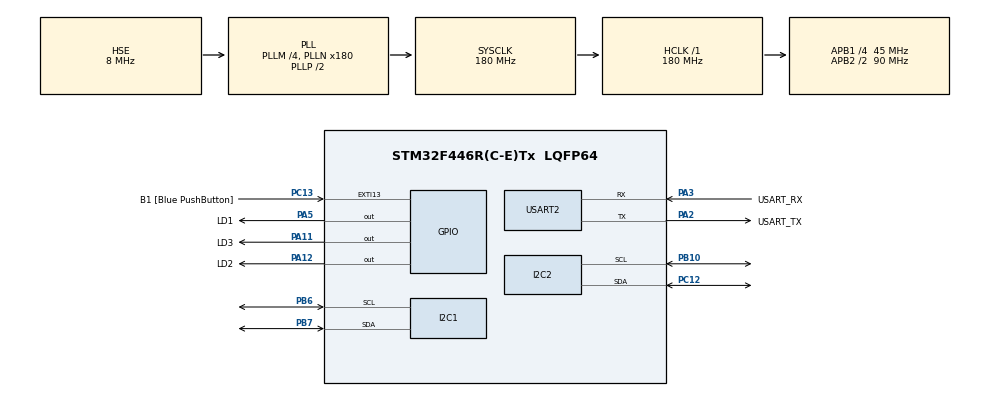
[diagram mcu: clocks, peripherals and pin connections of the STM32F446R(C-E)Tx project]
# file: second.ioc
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FREERTOS.INCLUDE_uxTaskGetStackHighWaterMark=1
FREERTOS.INCLUDE_uxTaskGetStackHighWaterMark2=1
FREERTOS.Tasks01=defaultTask,0,128,StartDefaultTask,Default,NULL,Dynamic,NULL,NULL
FREERTOS.configCHECK_FOR_STACK_OVERFLOW=2
FREERTOS.configENABLE_BACKWARD_COMPATIBILITY=0
FREERTOS.configENABLE_FPU=1
FREERTOS.configRECORD_STACK_HIGH_ADDRESS=1
FREERTOS.configTOTAL_HEAP_SIZE=32768
FREERTOS.configUSE_APPLICATION_TASK_TAG=1
FREERTOS.configUSE_MALLOC_FAILED_HOOK=1
FREERTOS.configUSE_NEWLIB_REENTRANT=1
FREERTOS.configUSE_POSIX_ERRNO=1
FREERTOS.configUSE_TIMERS=1
I2C1.OwnAddress=0
I2C2.OwnAddress=0x77
Mcu.Family=STM32F4
Mcu.Name=STM32F446R(C-E)Tx
Mcu.Package=LQFP64
NVIC.I2C1_ER_IRQn=true\:5\:0\:false\:false\:true\:true\:true\:true\:true
NVIC.I2C1_EV_IRQn=true\:5\:0\:false\:false\:true\:true\:true\:true\:true
NVIC.I2C2_ER_IRQn=true\:5\:0\:false\:false\:true\:true\:true\:true\:true
NVIC.I2C2_EV_IRQn=true\:5\:0\:false\:false\:true\:true\:true\:true\:true
NVIC.PriorityGroup=NVIC_PRIORITYGROUP_4
NVIC.TIM8_TRG_COM_TIM14_IRQn=true\:15\:0\:false\:false\:true\:false\:false\:true\:true
NVIC.TimeBase=TIM8_TRG_COM_TIM14_IRQn
NVIC.TimeBaseIP=TIM14
PA11.GPIO_Label=LD3
PA11.Signal=GPIO_Output
PA12.GPIO_Label=LD2
PA12.Signal=GPIO_Output
PA13.GPIO_Label=TMS
PA13.Mode=Trace_Asynchronous_SW
PA13.Signal=SYS_JTMS-SWDIO
PA14.GPIO_Label=TCK
PA14.Mode=Trace_Asynchronous_SW
PA14.Signal=SYS_JTCK-SWCLK
PA2.GPIO_Label=USART_TX
PA2.Mode=Asynchronous
PA2.Signal=USART2_TX
PA3.GPIO_Label=USART_RX
PA3.Mode=Asynchronous
PA3.Signal=USART2_RX
PA5.GPIO_Label=LD1
PA5.Signal=GPIO_Output
PB10.Mode=I2C
PB10.Signal=I2C2_SCL
PB3.GPIO_Label=SWO
PB3.Mode=Trace_Asynchronous_SW
PB3.Signal=SYS_JTDO-SWO
PB6.Mode=I2C
PB6.Signal=I2C1_SCL
PB7.Mode=I2C
PB7.Signal=I2C1_SDA
PC12.Mode=I2C
PC12.Signal=I2C2_SDA
PC13.GPIO_Label=B1 [Blue PushButton]
PC13.GPIO_ModeDefaultEXTI=GPIO_MODE_IT_FALLING
PC13.Signal=GPXTI13
PC14-OSC32_IN.Mode=LSE-External-Oscillator
PC14-OSC32_IN.Signal=RCC_OSC32_IN
PC15-OSC32_OUT.Mode=LSE-External-Oscillator
PC15-OSC32_OUT.Signal=RCC_OSC32_OUT
PH0-OSC_IN.Mode=HSE-External-Oscillator
PH0-OSC_IN.Signal=RCC_OSC_IN
PH1-OSC_OUT.Mode=HSE-External-Oscillator
PH1-OSC_OUT.Signal=RCC_OSC_OUT
ProjectManager.HeapSize=0x200
ProjectManager.StackSize=0x400
ProjectManager.TargetToolchain=STM32CubeIDE
RCC.48MHZClocksFreq_Value=84000000
RCC.AHBFreq_Value=180000000
RCC.APB1CLKDivider=RCC_HCLK_DIV4
RCC.APB1Freq_Value=45000000
RCC.APB1TimFreq_Value=90000000
RCC.APB2CLKDivider=RCC_HCLK_DIV2
RCC.APB2Freq_Value=90000000
RCC.APB2TimFreq_Value=180000000
RCC.CortexFreq_Value=180000000
RCC.FLatency-AdvancedSettings=FLASH_LATENCY_5
RCC.HCLKFreq_Value=180000000
RCC.HSE_VALUE=8000000
RCC.HSI_VALUE=16000000
RCC.PLLM=4
RCC.PLLN=180
RCC.PLLSourceVirtual=RCC_PLLSOURCE_HSE
RCC.SYSCLKFreq_VALUE=180000000
RCC.SYSCLKSource=RCC_SYSCLKSOURCE_PLLCLK
RCC.USBFreq_Value=180000000
RCC.VCOOutputFreq_Value=360000000
USART2.VirtualMode=VM_ASYNC
VP_FREERTOS_VS_CMSIS_V1.Mode=CMSIS_V1
VP_SYS_VS_tim14.Mode=TIM14
board=NUCLEO-F446RE

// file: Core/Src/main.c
/* USER CODE BEGIN Header */
/**
  ******************************************************************************
  * @file           : main.c
  * @brief          : Main program body
  ******************************************************************************
  * @attention
  *
  * Copyright (c) 2024 STMicroelectronics.
  * All rights reserved.
  *
  * This software is licensed under terms that can be found in the LICENSE file
  * in the root directory of this software component.
  * If no LICENSE file comes with this software, it is provided AS-IS.
  *
  ******************************************************************************
  */
/* USER CODE END Header */
#include "main.h"
#include "cmsis_os.h"
#include "i2c.h"
#include "usart.h"
#include "gpio.h"

/* USER CODE BEGIN Includes */
#include <stdio.h>
/* USER CODE END Includes */

void SystemClock_Config(void);
void MX_FREERTOS_Init(void);

int main(void)
{

  /* MCU Configuration--------------------------------------------------------*/

  /* Reset of all peripherals, Initializes the Flash interface and the Systick. */
  HAL_Init();

  /* Configure the system clock */
  SystemClock_Config();

  /* Initialize all configured peripherals */
  MX_GPIO_Init();
  MX_USART2_UART_Init();
  MX_I2C1_Init();
  MX_I2C2_Init();

  /* Call init function for freertos objects (in freertos.c) */
  MX_FREERTOS_Init();

  /* Start scheduler */
  osKernelStart();
  /* We should never get here as control is now taken by the scheduler */
  /* Infinite loop */
  while (1)
  {

  }
}

void SystemClock_Config(void)
{
  RCC_OscInitTypeDef RCC_OscInitStruct = {0};
  RCC_ClkInitTypeDef RCC_ClkInitStruct = {0};

  /** Configure the main internal regulator output voltage
  */
  __HAL_RCC_PWR_CLK_ENABLE();
  __HAL_PWR_VOLTAGESCALING_CONFIG(PWR_REGULATOR_VOLTAGE_SCALE1);

  /** Initializes the RCC Oscillators according to the specified parameters
  * in the RCC_OscInitTypeDef structure.
  */
  RCC_OscInitStruct.OscillatorType = RCC_OSCILLATORTYPE_HSE;
  RCC_OscInitStruct.HSEState = RCC_HSE_ON;
  RCC_OscInitStruct.PLL.PLLState = RCC_PLL_ON;
  RCC_OscInitStruct.PLL.PLLSource = RCC_PLLSOURCE_HSE;
  RCC_OscInitStruct.PLL.PLLM = 4;
  RCC_OscInitStruct.PLL.PLLN = 180;
  RCC_OscInitStruct.PLL.PLLP = RCC_PLLP_DIV2;
  RCC_OscInitStruct.PLL.PLLQ = 2;
  RCC_OscInitStruct.PLL.PLLR = 2;
  if (HAL_RCC_OscConfig(&RCC_OscInitStruct) != HAL_OK)
  {
    Error_Handler();
  }

  /** Activate the Over-Drive mode
  */
  if (HAL_PWREx_EnableOverDrive() != HAL_OK)
  {
    Error_Handler();
  }

  /** Initializes the CPU, AHB and APB buses clocks
  */
  RCC_ClkInitStruct.ClockType = RCC_CLOCKTYPE_HCLK|RCC_CLOCKTYPE_SYSCLK
                              |RCC_CLOCKTYPE_PCLK1|RCC_CLOCKTYPE_PCLK2;
  RCC_ClkInitStruct.SYSCLKSource = RCC_SYSCLKSOURCE_PLLCLK;
  RCC_ClkInitStruct.AHBCLKDivider = RCC_SYSCLK_DIV1;
  RCC_ClkInitStruct.APB1CLKDivider = RCC_HCLK_DIV4;
  RCC_ClkInitStruct.APB2CLKDivider = RCC_HCLK_DIV2;

  if (HAL_RCC_ClockConfig(&RCC_ClkInitStruct, FLASH_LATENCY_5) != HAL_OK)
  {
    Error_Handler();
  }
}

void HAL_TIM_PeriodElapsedCallback(TIM_HandleTypeDef *htim)
{
  if (htim->Instance == TIM14) {
    HAL_IncTick();
  }
}

void Error_Handler(void)
{
  __disable_irq();
  while (1)
  {
  }
}

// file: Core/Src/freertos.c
/* USER CODE BEGIN Header */
/**
  ******************************************************************************
  * File Name          : freertos.c
  * Description        : Code for freertos applications
  ******************************************************************************
  * @attention
  *
  * Copyright (c) 2024 STMicroelectronics.
  * All rights reserved.
  *
  * This software is licensed under terms that can be found in the LICENSE file
  * in the root directory of this software component.
  * If no LICENSE file comes with this software, it is provided AS-IS.
  *
  ******************************************************************************
  */
/* USER CODE END Header */

#include "FreeRTOS.h"
#include "task.h"
#include "main.h"
#include "cmsis_os.h"

/* USER CODE BEGIN Includes */
#include "timers.h"
#include "queue.h"
/* USER CODE END Includes */

/* USER CODE BEGIN Variables */
QueueHandle_t xQueue1, xQueue2;
TimerHandle_t xTimer1;
BaseType_t Sine;
TaskHandle_t xTask;
/* USER CODE END Variables */
osThreadId defaultTaskHandle;

/* USER CODE BEGIN FunctionPrototypes */
float generateSinus(float amplitude, float frequency, float time);
void vTimerCallback( TimerHandle_t xTimer );
/* USER CODE END FunctionPrototypes */

void StartDefaultTask(void const * argument);

void MX_FREERTOS_Init(void); /* (MISRA C 2004 rule 8.1) */

/* GetIdleTaskMemory prototype (linked to static allocation support) */
void vApplicationGetIdleTaskMemory( StaticTask_t **ppxIdleTaskTCBBuffer, StackType_t **ppxIdleTaskStackBuffer, uint32_t *pulIdleTaskStackSize );

/* GetTimerTaskMemory prototype (linked to static allocation support) */
void vApplicationGetTimerTaskMemory( StaticTask_t **ppxTimerTaskTCBBuffer, StackType_t **ppxTimerTaskStackBuffer, uint32_t *pulTimerTaskStackSize );

/* Hook prototypes */
void vApplicationStackOverflowHook(TaskHandle_t xTask, signed char *pcTaskName);
void vApplicationMallocFailedHook(void);

/* USER CODE BEGIN 4 */
__weak void vApplicationStackOverflowHook(TaskHandle_t xTask, signed char *pcTaskName)
{
   /* Run time stack overflow checking is performed if
   configCHECK_FOR_STACK_OVERFLOW is defined to 1 or 2. This hook function is
   called if a stack overflow is detected. */
}

/* USER CODE END 4 */

/* USER CODE BEGIN 5 */
__weak void vApplicationMallocFailedHook(void)
{
   /* vApplicationMallocFailedHook() will only be called if
   configUSE_MALLOC_FAILED_HOOK is set to 1 in FreeRTOSConfig.h. It is a hook
   function that will get called if a call to pvPortMalloc() fails.
   pvPortMalloc() is called internally by the kernel whenever a task, queue,
   timer or semaphore is created. It is also called by various parts of the
   demo application. If heap_1.c or heap_2.c are used, then the size of the
   heap available to pvPortMalloc() is defined by configTOTAL_HEAP_SIZE in
   FreeRTOSConfig.h, and the xPortGetFreeHeapSize() API function can be used
   to query the size of free heap space that remains (although it does not
   provide information on how the remaining heap might be fragmented). */
}
/* USER CODE END 5 */

/* USER CODE BEGIN GET_IDLE_TASK_MEMORY */
static StaticTask_t xIdleTaskTCBBuffer;
static StackType_t xIdleStack[configMINIMAL_STACK_SIZE];

void vApplicationGetIdleTaskMemory( StaticTask_t **ppxIdleTaskTCBBuffer, StackType_t **ppxIdleTaskStackBuffer, uint32_t *pulIdleTaskStackSize )
{
  *ppxIdleTaskTCBBuffer = &xIdleTaskTCBBuffer;
  *ppxIdleTaskStackBuffer = &xIdleStack[0];
  *pulIdleTaskStackSize = configMINIMAL_STACK_SIZE;
  /* place for user code */
}
/* USER CODE END GET_IDLE_TASK_MEMORY */

/* USER CODE BEGIN GET_TIMER_TASK_MEMORY */
static StaticTask_t xTimerTaskTCBBuffer;
static StackType_t xTimerStack[configTIMER_TASK_STACK_DEPTH];

void vApplicationGetTimerTaskMemory( StaticTask_t **ppxTimerTaskTCBBuffer, StackType_t **ppxTimerTaskStackBuffer, uint32_t *pulTimerTaskStackSize )
{
  *ppxTimerTaskTCBBuffer = &xTimerTaskTCBBuffer;
  *ppxTimerTaskStackBuffer = &xTimerStack[0];
  *pulTimerTaskStackSize = configTIMER_TASK_STACK_DEPTH;
  /* place for user code */
}
/* USER CODE END GET_TIMER_TASK_MEMORY */

void MX_FREERTOS_Init(void) {

  /* USER CODE BEGIN RTOS_TIMERS */
  /* start timers, add new ones, ... */
	xTimer1 = xTimerCreate("TIM14",10,pdTRUE,NULL,vTimerCallback);
  /* USER CODE END RTOS_TIMERS */

  /* USER CODE BEGIN RTOS_QUEUES */
  /* add queues, ... */

	xQueue1 = xQueueCreate(1,sizeof(float));
	xQueue2 = xQueueCreate(10,sizeof(float));
  /* USER CODE END RTOS_QUEUES */

  /* Create the thread(s) */
  /* definition and creation of defaultTask */
  osThreadDef(defaultTask, StartDefaultTask, osPriorityNormal, 0, 128);
  defaultTaskHandle = osThreadCreate(osThread(defaultTask), NULL);

}

void StartDefaultTask(void const * argument)
{
  for(;;)
  {
    osDelay(1);
  }
}

/* USER CODE BEGIN Application */
void vTimerCallback( TimerHandle_t xTimer ){
	while(1){
		HAL_GPIO_WritePin(GPIOA,LD1_Pin,GPIO_PIN_SET);
		vTaskDelay(pdMS_TO_TICKS(1000));
		HAL_GPIO_WritePin(GPIOA,LD1_Pin,GPIO_PIN_RESET);
		vTaskDelay(pdMS_TO_TICKS(1000));
	}
}
/* USER CODE END Application */
